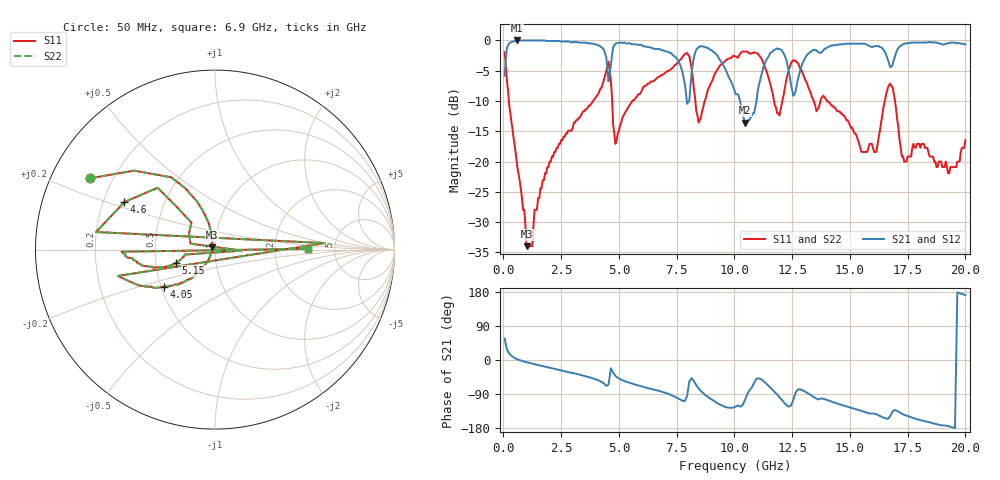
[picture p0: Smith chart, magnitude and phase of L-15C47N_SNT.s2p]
# MHZ S MA R 50
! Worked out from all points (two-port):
!   400 points, 50 MHz to 20 GHz, reference 50 ohm
!   highest |S21| = 0.00 dB at 600 MHz (marker M1); lowest = -13.6 dB at 10.45 GHz (marker M2)
!   |S21| within 3 dB of the highest: 105.5 MHz to 4.457 GHz (4.352 GHz wide, 191 % of centre); 13.05 GHz to 16.63 GHz (3.581 GHz wide, 24.1 % of centre) (the widest 2 of 6)
!   lowest |S11| = -34.0 dB at 1 GHz (marker M3), VSWR 1.04, Z = 48.5 + j1.27 ohm
!   |S11| at or under -10 dB: 234 MHz to 3.881 GHz (3.647 GHz wide, 177 % of centre); 14.02 GHz to 16.51 GHz (2.492 GHz wide, 16.3 % of centre); 16.95 GHz to end of sweep (the widest 3 of 7)
!   |S22| runs from -34.0 to -1.8 dB; largest |S21 - S12| = 0
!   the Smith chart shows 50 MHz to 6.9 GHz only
!   S11 on the Smith chart (normalised r, x): 50 MHz: 0.12, +0.26; 4.05 GHz: 0.52, -0.25; 4.6 GHz: 0.29, +0.23; 5.15 GHz: 0.64, -0.10; 6.9 GHz: 3.17, +0.04
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50  0.8 150.2  0.51 56.8  0.51 56.8  0.8 150.2
600  0.09 103.3  1 1.8  1 1.8  0.09 103.3
1000  0.02 139.3  1 -5.9  1 -5.9  0.02 139.3
3400  0.25 -133.8  0.96 -40.2  0.96 -40.2  0.25 -133.8
4050  0.35 -143.6  0.92 -52.0  0.92 -52.0  0.35 -143.6
4450  0.56 -164.8  0.73 -68.2  0.73 -68.2  0.56 -164.8
4500  0.61 3.4  0.59 -66.6  0.59 -66.6  0.61 3.4
4550  0.67 171.6  0.46 -65.0  0.46 -65.0  0.67 171.6
4600  0.57 152.3  0.54 -43.4  0.54 -43.4  0.57 152.3
5150  0.23 -161.2  0.95 -53.4  0.95 -53.4  0.23 -161.2
6700  0.5 -175.8  0.85 -80.8  0.85 -80.8  0.5 -175.8
6850  0.52 -178.7  0.83 -83.7  0.83 -83.7  0.52 -178.7
6900  0.52 0.5  0.83 -84.4  0.83 -84.4  0.52 0.5
6950  0.53 179.6  0.82 -85.2  0.82 -85.2  0.53 179.6
10050  0.74 117.2  0.36 -122.9  0.36 -122.9  0.74 117.2
10450  0.81 106.7  0.21 -106.5  0.21 -106.5  0.81 106.7
13350  0.34 21.9  0.82 -94.5  0.82 -94.5  0.34 21.9
16700  0.43 71.1  0.64 -151.5  0.64 -151.5  0.43 71.1
19550  0.09 -5.4  0.96 -179.7  0.96 -179.7  0.09 -5.4
19600  0.09 -6.6  0.95 -0.6  0.95 -0.6  0.09 -6.6
19650  0.1 -7.9  0.95 178.5  0.95 178.5  0.1 -7.9
20000  0.15 3.2  0.93 171.2  0.93 171.2  0.15 3.2
